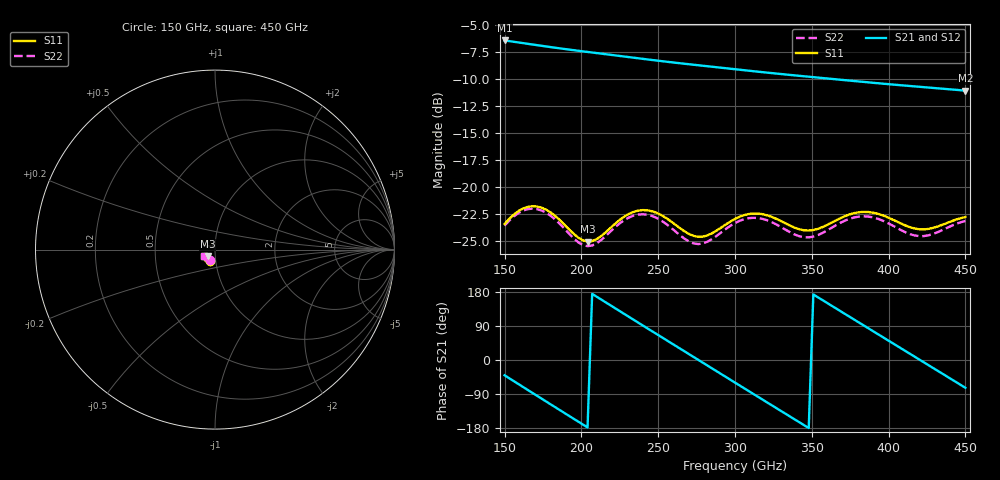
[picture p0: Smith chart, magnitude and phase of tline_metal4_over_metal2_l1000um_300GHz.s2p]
#  GHZ S DB R 50
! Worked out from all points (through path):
!   101 points, 150 GHz to 450 GHz, reference 50 ohm
!   highest |S21| = -6.46 dB at 150 GHz (marker M1); lowest = -11.1 dB at 450 GHz (marker M2)
!   group delay of S21, straight-line fit = 6.96 ps
!   lowest |S11| = -25.1 dB at 204 GHz (marker M3), VSWR 1.12, Z = 45.9 - j3.46 ohm
!   |S11| at or under -10 dB: start of sweep to end of sweep
!   |S22| runs from -25.5 to -22.0 dB; largest |S21 - S12| = 5.4e-14
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150  -23.44 -115.0  -6.46 -40.4  -6.46 -40.4  -23.59 -114.6
162  -22.00 -123.6  -6.71 -71.2  -6.71 -71.2  -22.20 -123.6
174  -21.92 -135.7  -6.96 -101.8  -6.96 -101.8  -22.18 -135.9
189  -23.50 -145.1  -7.25 -139.9  -7.25 -139.9  -23.88 -145.3
201  -24.95 -140.5  -7.47 -170.3  -7.47 -170.3  -25.39 -140.1
204  -25.06 -137.8  -7.53 -177.9  -7.53 -177.9  -25.49 -137.2
216  -24.18 -129.7  -7.74 151.7  -7.74 151.7  -24.52 -129.0
231  -22.50 -133.8  -8.00 113.7  -8.00 113.7  -22.83 -133.8
240  -22.15 -140.4  -8.16 91.0  -8.16 91.0  -22.54 -140.8
252  -22.61 -148.7  -8.37 60.8  -8.37 60.8  -23.12 -149.2
264  -23.80 -151.4  -8.57 30.7  -8.57 30.7  -24.46 -151.4
276  -24.62 -145.8  -8.76 0.6  -8.76 0.6  -25.29 -144.4
288  -24.05 -139.4  -8.94 -29.5  -8.94 -29.5  -24.54 -137.4
300  -22.97 -140.3  -9.12 -59.6  -9.12 -59.6  -23.35 -138.9
321  -22.64 -150.8  -9.44 -112.2  -9.44 -112.2  -23.10 -150.4
336  -23.59 -153.3  -9.65 -149.6  -9.65 -149.6  -24.21 -152.7
351  -23.99 -147.8  -9.86 173.0  -9.86 173.0  -24.60 -145.9
378  -22.42 -148.7  -10.22 105.6  -10.22 105.6  -22.82 -147.2
390  -22.39 -154.3  -10.38 75.8  -10.38 75.8  -22.83 -153.4
402  -22.98 -158.1  -10.53 46.0  -10.53 46.0  -23.53 -157.2
426  -23.89 -152.5  -10.82 -13.7  -10.82 -13.7  -24.48 -149.9
450  -22.79 -152.0  -11.10 -73.3  -11.10 -73.3  -23.16 -149.5
